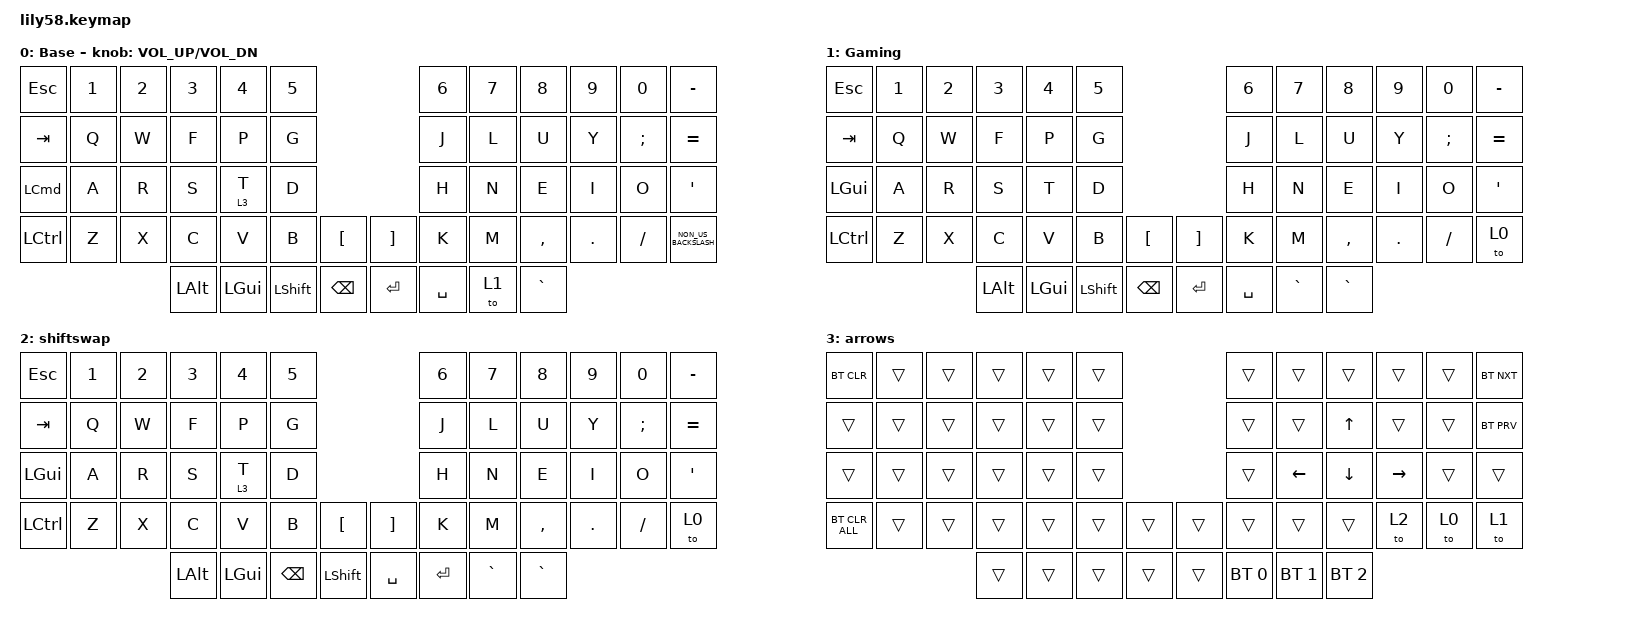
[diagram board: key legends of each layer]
/*
 * Copyright (c) 2020 The ZMK Contributors
 *
 * SPDX-License-Identifier: MIT
 */

#include <behaviors.dtsi>
#include <dt-bindings/zmk/bt.h>
#include <dt-bindings/zmk/keys.h>

/ {
    keymap {
        compatible = "zmk,keymap";

        Base {
            // ------------------------------------------------------------------------------------------------------------
            // |  ESC  |  1  |  2  |  3   |  4   |  5   |                   |  6   |  7    |  8    |  9   |   0   |   `   |
            // |  TAB  |  Q  |  W  |  E   |  R   |  T   |                   |  Y   |  U    |  I    |  O   |   P   |   -   |
            // |  CTRL |  A  |  S  |  D   |  F   |  G   |                   |  H   |  J    |  K    |  L   |   ;   |   '   |
            // | SHIFT |  Z  |  X  |  C   |  V   |  B   |   "["  |  |  "]"  |  N   |  M    |  ,    |  .   |   /   | SHIFT |
            //                     | ALT  | GUI  | LOWER|  SPACE |  | ENTER | RAISE| BSPC  | GUI   |

            display-name = "Base";
            bindings = <
&kp ESC           &kp N1  &kp N2  &kp N3    &kp N4    &kp N5                                       &kp N6     &kp N7  &kp N8     &kp N9      &kp N0         &kp MINUS
&kp TAB           &kp Q   &kp W   &kp F     &kp P     &kp G                                        &kp J      &kp L   &kp U      &kp Y       &kp SEMICOLON  &kp EQUAL
&kp LEFT_COMMAND  &kp A   &kp R   &kp S     &lt 3 T   &kp D                                        &kp H      &kp N   &kp E      &kp I       &kp O          &kp SQT
&kp LCTRL         &kp Z   &kp X   &kp C     &kp V     &kp B           &kp LBKT         &kp RBKT    &kp K      &kp M   &kp COMMA  &kp PERIOD  &kp SLASH      &kp NON_US_BACKSLASH
                                  &kp LALT  &kp LGUI  &kp LEFT_SHIFT  &kp BACKSPACE    &kp RETURN  &kp SPACE  &to 1   &kp GRAVE
            >;

            sensor-bindings = <&inc_dec_kp C_VOL_UP C_VOL_DN>;
        };

        Gaming {
            bindings = <
&kp ESC    &kp N1  &kp N2  &kp N3    &kp N4    &kp N5                                      &kp N6     &kp N7     &kp N8     &kp N9   &kp N0    &kp MINUS
&kp TAB    &kp Q   &kp W   &kp F     &kp P     &kp G                                       &kp J      &kp L      &kp U      &kp Y    &kp SEMI  &kp EQUAL
&kp LGUI   &kp A   &kp R   &kp S     &kp T     &kp D                                       &kp H      &kp N      &kp E      &kp I    &kp O     &kp SQT
&kp LCTRL  &kp Z   &kp X   &kp C     &kp V     &kp B           &kp LBKT         &kp RBKT   &kp K      &kp M      &kp COMMA  &kp DOT  &kp FSLH  &to 0
                           &kp LALT  &kp LGUI  &kp LEFT_SHIFT  &kp BACKSPACE    &kp ENTER  &kp SPACE  &kp GRAVE  &kp GRAVE
            >;
        };

        shiftswap {
            bindings = <
&kp ESC    &kp N1  &kp N2  &kp N3    &kp N4    &kp N5                            &kp N6   &kp N7     &kp N8     &kp N9   &kp N0    &kp MINUS
&kp TAB    &kp Q   &kp W   &kp F     &kp P     &kp G                             &kp J    &kp L      &kp U      &kp Y    &kp SEMI  &kp EQUAL
&kp LGUI   &kp A   &kp R   &kp S     &lt 3 T   &kp D                             &kp H    &kp N      &kp E      &kp I    &kp O     &kp SQT
&kp LCTRL  &kp Z   &kp X   &kp C     &kp V     &kp B     &kp LBKT     &kp RBKT   &kp K    &kp M      &kp COMMA  &kp DOT  &kp FSLH  &to 0
                           &kp LALT  &kp LGUI  &kp BSPC  &kp LSHFT    &kp SPACE  &kp RET  &kp GRAVE  &kp GRAVE
            >;
        };

        arrows {
            bindings = <
&bt BT_CLR      &trans  &trans  &trans  &trans  &trans                    &trans        &trans          &trans        &trans     &trans  &bt BT_NXT
&trans          &trans  &trans  &trans  &trans  &trans                    &trans        &trans          &kp UP_ARROW  &trans     &trans  &bt BT_PRV
&trans          &trans  &trans  &trans  &trans  &trans                    &trans        &kp LEFT_ARROW  &kp DOWN      &kp RIGHT  &trans  &trans
&bt BT_CLR_ALL  &trans  &trans  &trans  &trans  &trans  &trans    &trans  &trans        &trans          &trans        &to 2      &to 0   &to 1
                                &trans  &trans  &trans  &trans    &trans  &bt BT_SEL 0  &bt BT_SEL 1    &bt BT_SEL 2
            >;
        };
    };
};
